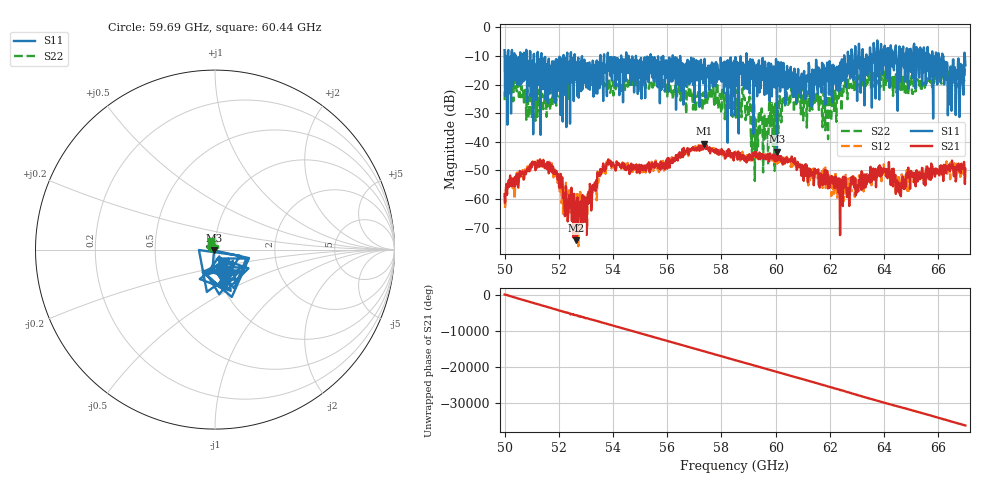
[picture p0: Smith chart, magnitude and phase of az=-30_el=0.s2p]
!Created with skrf (http://scikit-rf.org).
# GHz S RI R 50.0
!freq ReS11 ImS11 ReS21 ImS21 ReS12 ImS12 ReS22 ImS22
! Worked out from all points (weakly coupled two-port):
!   1001 points, 50 GHz to 67 GHz, reference 50 ohm
!   highest |S21| = -40.65 dB at 57.36 GHz (marker M1); lowest = -74.4 dB at 52.65 GHz (marker M2)
!   lowest |S11| = -43.4 dB at 60.05 GHz (marker M3), VSWR 1.01, Z = 49.5 - j0.421 ohm
!   |S11| at or under -10 dB: 52.59 GHz to 53.53 GHz (946.5 MHz wide, 1.78 % of centre); 56.48 GHz to 58.92 GHz (2.446 GHz wide, 4.24 % of centre); 58.93 GHz to 62.53 GHz (3.598 GHz wide, 5.93 % of centre) (the widest 3 of 65)
!   |S22| runs from -53.7 to -13.3 dB; largest |S21 - S12| = 0.0023
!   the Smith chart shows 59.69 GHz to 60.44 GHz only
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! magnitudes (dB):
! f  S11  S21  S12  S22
! 50 GHz  -8.0  -58.3  -58.9  -25.4
! 50.15 GHz  -23.1  -53.4  -53.9  -20.6
! 51.34 GHz  -9.7  -47.6  -46.8  -28.8
! 51.85 GHz  -14.8  -50.0  -49.7  -20.2
! 52.65 GHz  -17.9  -74.4  -67.8  -19.4
! 52.84 GHz  -11.1  -60.6  -62.9  -19.4
! 53.84 GHz  -14.7  -47.8  -46.9  -17.8
! 55.68 GHz  -13.6  -49.2  -48.4  -21.0
! 57.36 GHz  -13.6  -40.7  -41.2  -25.9
! 58.5 GHz  -30.8  -43.7  -45.2  -24.2
! 58.86 GHz  -21.4  -46.7  -45.3  -24.6
! 59.3 GHz  -15.3  -45.3  -44.7  -43.9
! 60.05 GHz  -43.4  -46.5  -47.6  -29.9
! 60.64 GHz  -15.7  -47.0  -46.1  -22.7
! 61.34 GHz  -27.7  -51.3  -50.2  -27.3
! 62 GHz  -12.8  -54.3  -51.8  -23.7
! 62.39 GHz  -12.1  -56.2  -57.6  -19.1
! 64.18 GHz  -12.0  -47.0  -50.3  -17.4
! 64.57 GHz  -6.7  -56.5  -55.2  -17.8
! 66.08 GHz  -19.2  -50.9  -49.7  -15.9
! 66.44 GHz  -19.2  -50.0  -53.1  -16.4
! 67 GHz  -13.2  -49.4  -49.7  -14.3
